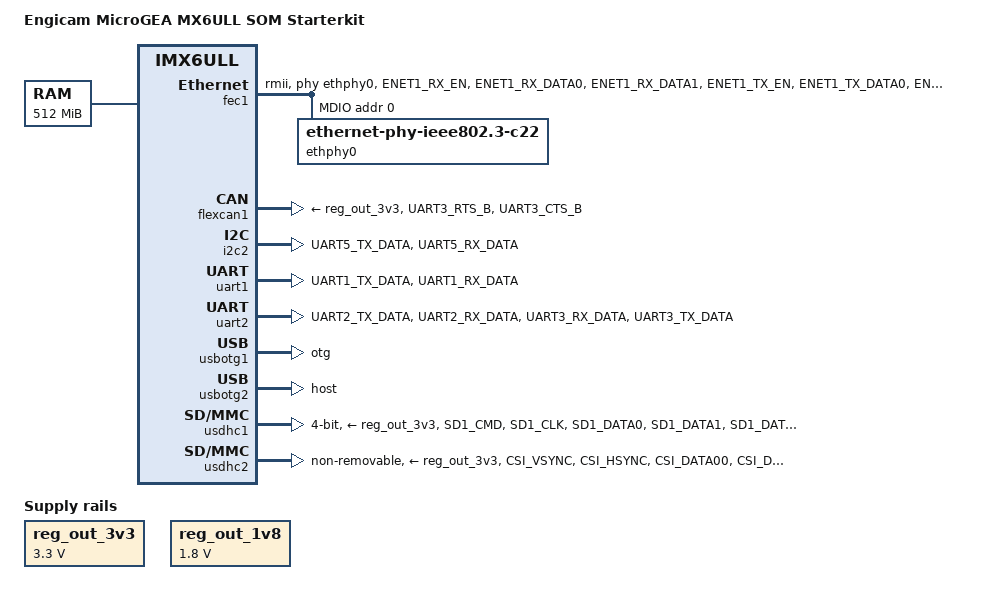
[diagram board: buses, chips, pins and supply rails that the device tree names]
/*
 * Copyright (C) 2016 Freescale Semiconductor, Inc.
 * Copyright 2017 NXP
 *
 * This program is free software; you can redistribute it and/or modify
 * it under the terms of the GNU General Public License version 2 as
 * published by the Free Software Foundation.
 */

/dts-v1/;

#include <dt-bindings/input/input.h>
#include "imx6ull.dtsi"

/ {
	model = "Engicam MicroGEA MX6ULL SOM Starterkit";
	compatible = "fsl,imx6ull";

	chosen {
		stdout-path = &uart1;
	};

	memory {
		reg = <0x80000000 0x20000000>;
	};

	reserved-memory {
		#address-cells = <1>;
		#size-cells = <1>;
		ranges;

		linux,cma {
			compatible = "shared-dma-pool";
			reusable;
			size = <0x4000000>;
			linux,cma-default;
		};
	};

	regulators {
		compatible = "simple-bus";
		#address-cells = <1>;
		#size-cells = <0>;

		reg_out_3v3: regulator@0 {
			compatible = "regulator-fixed";
			reg = <0>;
			regulator-name = "out-3v3";
			regulator-min-microvolt = <3300000>;
			regulator-max-microvolt = <3300000>;
		};

		reg_out_1v8: regulator@1 {
			compatible = "regulator-fixed";
			reg = <1>;
			regulator-name = "out-1v8";
			regulator-min-microvolt = <1800000>;
			regulator-max-microvolt = <1800000>;
		};
	};
};

&cpu0 {
	/*
	 * on i.MX6ULL, no separated VDD_ARM_IN and VDD_SOC_IN,
	 * to align with other platform and use the same cpufreq
	 * driver, still use the separated OPP define for arm
	 * and soc.
	 */
	operating-points = <
		/* kHz	uV */
		528000	1175000
		396000	1175000
		198000	1175000
	>;
	fsl,soc-operating-points = <
		/* KHz	uV */
		528000	1175000
		396000	1175000
		198000	1175000
	>;
	fsl,arm-soc-shared = <1>;
};

&fec1 {
	pinctrl-names = "default";
	pinctrl-0 = <&pinctrl_enet1>;
	phy-mode = "rmii";
	phy-handle = <&ethphy0>;
	local-mac-address = [00 04 9F 01 1B B9];
	status = "okay";

	mdio {
		#address-cells = <1>;
		#size-cells = <0>;

		ethphy0: ethernet-phy@0 {
			compatible = "ethernet-phy-ieee802.3-c22";
			reg = <0>;
		};
	};

};


&flexcan1 {
	pinctrl-names = "default";
	pinctrl-0 = <&pinctrl_flexcan1>;
	xceiver-supply = <&reg_out_3v3>;
	status = "okay";
};


&gpc {
	fsl,cpu_pupscr_sw2iso = <0xf>;
	fsl,cpu_pupscr_sw = <0x0>;
	fsl,cpu_pdnscr_iso2sw = <0x1>;
	fsl,cpu_pdnscr_iso = <0x1>;
	fsl,ldo-bypass = <1>;
};


&i2c2 {
	clock_frequency = <100000>;
	pinctrl-names = "default";
	pinctrl-0 = <&pinctrl_i2c2>;
	status = "okay";

};

&iomuxc {
	pinctrl-names = "default";
	pinctrl-0 = <&pinctrl_hog_1>;
	imx6ul-evk {

		pinctrl_hog_1: hoggrp-1 {
			fsl,pins = <
				MX6UL_PAD_LCD_DATA18__GPIO3_IO23	0x17059 /* WF111 reset */
				MX6UL_PAD_UART1_RTS_B__GPIO1_IO19  0x17059 /*CD sdhc1 */
			>;
		};
		
		pinctrl_enet1: enet1grp {
			fsl,pins = <
				MX6UL_PAD_ENET1_RX_EN__ENET1_RX_EN	0x1b0b0
				MX6UL_PAD_ENET1_RX_DATA0__ENET1_RDATA00	0x1b0b0
				MX6UL_PAD_ENET1_RX_DATA1__ENET1_RDATA01	0x1b0b0
				MX6UL_PAD_ENET1_TX_EN__ENET1_TX_EN	0x1b0b0
				MX6UL_PAD_ENET1_TX_DATA0__ENET1_TDATA00	0x1b0b0
				MX6UL_PAD_ENET1_TX_DATA1__ENET1_TDATA01	0x1b0b0
				MX6UL_PAD_ENET1_TX_CLK__ENET1_REF_CLK1	0x4001b031
				MX6UL_PAD_GPIO1_IO07__ENET1_MDC		0x1b0b0
				MX6UL_PAD_GPIO1_IO06__ENET1_MDIO	0x1b0b0
			>;
		};

		pinctrl_enet2: enet2grp {
			fsl,pins = <
				MX6UL_PAD_ENET2_RX_EN__ENET2_RX_EN	0x1b0b0
				MX6UL_PAD_ENET2_RX_ER__GPIO2_IO15	0x1b0b0		/* ENET_nRST */
				MX6UL_PAD_ENET2_RX_DATA0__ENET2_RDATA00	0x1b0b0
				MX6UL_PAD_ENET2_RX_DATA1__ENET2_RDATA01	0x1b0b0
				MX6UL_PAD_ENET2_TX_EN__ENET2_TX_EN	0x1b0b0
				MX6UL_PAD_ENET2_TX_DATA0__ENET2_TDATA00	0x1b0b0
				MX6UL_PAD_ENET2_TX_DATA1__ENET2_TDATA01	0x1b0b0
				MX6UL_PAD_GPIO1_IO05__ENET2_REF_CLK2	0x4001b031
			>;
		};

		pinctrl_flexcan1: flexcan1grp{
			fsl,pins = <
				MX6UL_PAD_UART3_RTS_B__FLEXCAN1_RX	0x1b020
				MX6UL_PAD_UART3_CTS_B__FLEXCAN1_TX	0x1b020
			>;
		};


		pinctrl_flexcan2: flexcan2grp{
			fsl,pins = <
				MX6UL_PAD_UART2_RTS_B__FLEXCAN2_RX	0x1b020
				MX6UL_PAD_UART2_CTS_B__FLEXCAN2_TX	0x1b020
			>;
		};


		pinctrl_gpmi_nand_1: gpmi-nand-1 {
			fsl,pins = <
				MX6UL_PAD_NAND_CLE__RAWNAND_CLE         0xb0b1
				MX6UL_PAD_NAND_ALE__RAWNAND_ALE         0xb0b1
				MX6UL_PAD_NAND_WP_B__RAWNAND_WP_B       0xb0b1
				MX6UL_PAD_NAND_READY_B__RAWNAND_READY_B 0xb000
				MX6UL_PAD_NAND_CE0_B__RAWNAND_CE0_B     0xb0b1
				MX6UL_PAD_NAND_RE_B__RAWNAND_RE_B       0xb0b1
				MX6UL_PAD_NAND_WE_B__RAWNAND_WE_B       0xb0b1
				MX6UL_PAD_NAND_DATA00__RAWNAND_DATA00   0xb0b1
				MX6UL_PAD_NAND_DATA01__RAWNAND_DATA01   0xb0b1
				MX6UL_PAD_NAND_DATA02__RAWNAND_DATA02   0xb0b1
				MX6UL_PAD_NAND_DATA03__RAWNAND_DATA03   0xb0b1
				MX6UL_PAD_NAND_DATA04__RAWNAND_DATA04   0xb0b1
				MX6UL_PAD_NAND_DATA05__RAWNAND_DATA05   0xb0b1
				MX6UL_PAD_NAND_DATA06__RAWNAND_DATA06   0xb0b1
				MX6UL_PAD_NAND_DATA07__RAWNAND_DATA07   0xb0b1
			>;
		};

		pinctrl_lcdif_dat: lcdifdatgrp {
			fsl,pins = <
				MX6UL_PAD_LCD_DATA00__LCDIF_DATA00  0x79
				MX6UL_PAD_LCD_DATA01__LCDIF_DATA01  0x79
				MX6UL_PAD_LCD_DATA02__LCDIF_DATA02  0x79
				MX6UL_PAD_LCD_DATA03__LCDIF_DATA03  0x79
				MX6UL_PAD_LCD_DATA04__LCDIF_DATA04  0x79
				MX6UL_PAD_LCD_DATA05__LCDIF_DATA05  0x79
				MX6UL_PAD_LCD_DATA06__LCDIF_DATA06  0x79
				MX6UL_PAD_LCD_DATA07__LCDIF_DATA07  0x79
				MX6UL_PAD_LCD_DATA08__LCDIF_DATA08  0x79
				MX6UL_PAD_LCD_DATA09__LCDIF_DATA09  0x79
				MX6UL_PAD_LCD_DATA10__LCDIF_DATA10  0x79
				MX6UL_PAD_LCD_DATA11__LCDIF_DATA11  0x79
				MX6UL_PAD_LCD_DATA12__LCDIF_DATA12  0x79
				MX6UL_PAD_LCD_DATA13__LCDIF_DATA13  0x79
				MX6UL_PAD_LCD_DATA14__LCDIF_DATA14  0x79
				MX6UL_PAD_LCD_DATA15__LCDIF_DATA15  0x79
				MX6UL_PAD_LCD_DATA16__LCDIF_DATA16  0x79
				MX6UL_PAD_LCD_DATA17__LCDIF_DATA17  0x79

			>;
		};

		pinctrl_lcdif_ctrl: lcdifctrlgrp {
			fsl,pins = <
				MX6UL_PAD_LCD_CLK__LCDIF_CLK	    0x79
				MX6UL_PAD_LCD_ENABLE__LCDIF_ENABLE  0x79
				MX6UL_PAD_LCD_HSYNC__LCDIF_HSYNC    0x79
				MX6UL_PAD_LCD_VSYNC__LCDIF_VSYNC    0x79
			>;
		};

		pinctrl_pwm8: pwm8grp {
			fsl,pins = <
				MX6UL_PAD_ENET1_RX_ER__PWM8_OUT   0x110b0
			>;
		};

		pinctrl_uart1: uart1grp {
			fsl,pins = <
				MX6UL_PAD_UART1_TX_DATA__UART1_DCE_TX 0x1b0b1
				MX6UL_PAD_UART1_RX_DATA__UART1_DCE_RX 0x1b0b1
			>;
		};

		pinctrl_uart2: uart2grp {
			fsl,pins = <
				MX6UL_PAD_UART2_TX_DATA__UART2_DCE_TX	0x1b0b1
				MX6UL_PAD_UART2_RX_DATA__UART2_DCE_RX	0x1b0b1
				MX6UL_PAD_UART3_RX_DATA__UART2_DCE_RTS	0x1b0b1
				MX6UL_PAD_UART3_TX_DATA__UART2_DCE_CTS	0x1b0b1
			>;
		};

		pinctrl_uart8: uart8grp {
				fsl,pins = <
				MX6UL_PAD_LCD_DATA20__UART8_DCE_TX	0x1b0b1
				MX6UL_PAD_LCD_DATA21__UART8_DCE_RX	0x1b0b1
				MX6UL_PAD_ENET2_TX_CLK__UART8_DCE_CTS	0x1b0b0
			>;
		};

		pinctrl_uart2dte: uart2dtegrp {
			fsl,pins = <
				MX6UL_PAD_UART2_TX_DATA__UART2_DTE_RX	0x1b0b1
				MX6UL_PAD_UART2_RX_DATA__UART2_DTE_TX	0x1b0b1
				MX6UL_PAD_UART3_RX_DATA__UART2_DTE_CTS	0x1b0b1
				MX6UL_PAD_UART3_TX_DATA__UART2_DTE_RTS	0x1b0b1
			>;
		};

		pinctrl_usdhc1: usdhc1grp {
			fsl,pins = <
				MX6UL_PAD_SD1_CMD__USDHC1_CMD     0x17059
				MX6UL_PAD_SD1_CLK__USDHC1_CLK     0x10059
				MX6UL_PAD_SD1_DATA0__USDHC1_DATA0 0x17059
				MX6UL_PAD_SD1_DATA1__USDHC1_DATA1 0x17059
				MX6UL_PAD_SD1_DATA2__USDHC1_DATA2 0x17059
				MX6UL_PAD_SD1_DATA3__USDHC1_DATA3 0x17059
			>;
		};

		pinctrl_usdhc1_100mhz: usdhc1grp100mhz {
			fsl,pins = <
				MX6UL_PAD_SD1_CMD__USDHC1_CMD     0x170b9
				MX6UL_PAD_SD1_CLK__USDHC1_CLK     0x100b9
				MX6UL_PAD_SD1_DATA0__USDHC1_DATA0 0x170b9
				MX6UL_PAD_SD1_DATA1__USDHC1_DATA1 0x170b9
				MX6UL_PAD_SD1_DATA2__USDHC1_DATA2 0x170b9
				MX6UL_PAD_SD1_DATA3__USDHC1_DATA3 0x170b9
			>;
		};

		pinctrl_usdhc1_200mhz: usdhc1grp200mhz {
			fsl,pins = <
				MX6UL_PAD_SD1_CMD__USDHC1_CMD     0x170f9
				MX6UL_PAD_SD1_CLK__USDHC1_CLK     0x100f9
				MX6UL_PAD_SD1_DATA0__USDHC1_DATA0 0x170f9
				MX6UL_PAD_SD1_DATA1__USDHC1_DATA1 0x170f9
				MX6UL_PAD_SD1_DATA2__USDHC1_DATA2 0x170f9
				MX6UL_PAD_SD1_DATA3__USDHC1_DATA3 0x170f9
			>;
		};

		pinctrl_usdhc2: usdhc2grp {
			fsl,pins = <
				MX6UL_PAD_CSI_VSYNC__USDHC2_CLK     0x17070
				MX6UL_PAD_CSI_HSYNC__USDHC2_CMD     0x10070
				MX6UL_PAD_CSI_DATA00__USDHC2_DATA0  0x17070
				MX6UL_PAD_CSI_DATA01__USDHC2_DATA1  0x17070
				MX6UL_PAD_CSI_DATA02__USDHC2_DATA2  0x17070
				MX6UL_PAD_CSI_DATA03__USDHC2_DATA3  0x17070
			>;
		};


		pinctrl_i2c1: i2c1grp {
			fsl,pins = <
				MX6UL_PAD_CSI_PIXCLK__I2C1_SCL 0x4001b8b0
				MX6UL_PAD_CSI_MCLK__I2C1_SDA 0x4001b8b0
			>;
		};

		pinctrl_i2c2: i2c2grp {
			fsl,pins = <
				MX6UL_PAD_UART5_TX_DATA__I2C2_SCL 0x4001b8b0
				MX6UL_PAD_UART5_RX_DATA__I2C2_SDA 0x4001b8b0
			>;
		};

		pinctrl_ecspi: ecspigrp {
			fsl,pins = <
				MX6UL_PAD_CSI_DATA04__ECSPI1_SCLK      	0x70a1
				MX6UL_PAD_CSI_DATA05__ECSPI1_SS0 	0x70a1
				MX6UL_PAD_CSI_DATA06__ECSPI1_MOSI   	0x70a1
				MX6UL_PAD_CSI_DATA07__ECSPI1_MISO   	0x70a1
			>;
		};

		pinctrl_sai2: sai2grp {
			fsl,pins = <
				MX6UL_PAD_JTAG_TCK__SAI2_RX_DATA	0x130b0
				MX6UL_PAD_JTAG_TMS__CCM_CLKO1		0x4001b031
				MX6UL_PAD_JTAG_TDI__SAI2_TX_BCLK	0x17088
				MX6UL_PAD_JTAG_TDO__SAI2_TX_SYNC	0x17088
				MX6UL_PAD_JTAG_TRST_B__SAI2_TX_DATA	0x120b0
			>;
		};

	};
};


&uart1 {
	pinctrl-names = "default";
	pinctrl-0 = <&pinctrl_uart1>;
	status = "okay";
};

&uart2 {
	pinctrl-names = "default";
	pinctrl-0 = <&pinctrl_uart2>;
	fsl,uart-has-rtscts;
	/* for DTE mode, add below change */
	/* fsl,dte-mode; */
	/* pinctrl-0 = <&pinctrl_uart2dte>; */
	status = "okay";
};

&usbotg1 {
	dr_mode = "otg";
	srp-disable;
	hnp-disable;
	adp-disable;
	status = "okay";
};

&usbotg2 {
	dr_mode = "host";
	disable-over-current;
	status = "okay";
};

&usdhc1 {
	pinctrl-names = "default";
	pinctrl-0 = <&pinctrl_usdhc1>;
	bus-width = <4>;
	cd-gpios = <&gpio1 19 GPIO_ACTIVE_LOW>;
	vmmc-supply = <&reg_out_3v3>;
	bus-width = <4>;
	enable-sdio-wakeup;
	keep-power-in-suspend;
	status = "okay";
};


&usdhc2 {
	pinctrl-names = "default";
	pinctrl-0 = <&pinctrl_usdhc2>;
	no-1-8-v;
	vmmc-supply = <&reg_out_3v3>;
	keep-power-in-suspend;
	non-removable;
	status = "okay";
	reset-gpios = <&gpio3 23 1>;	// WF111 reset on GEA M6UL starterkit
};

&wdog1 {
	fsl,wdog_b;
};
